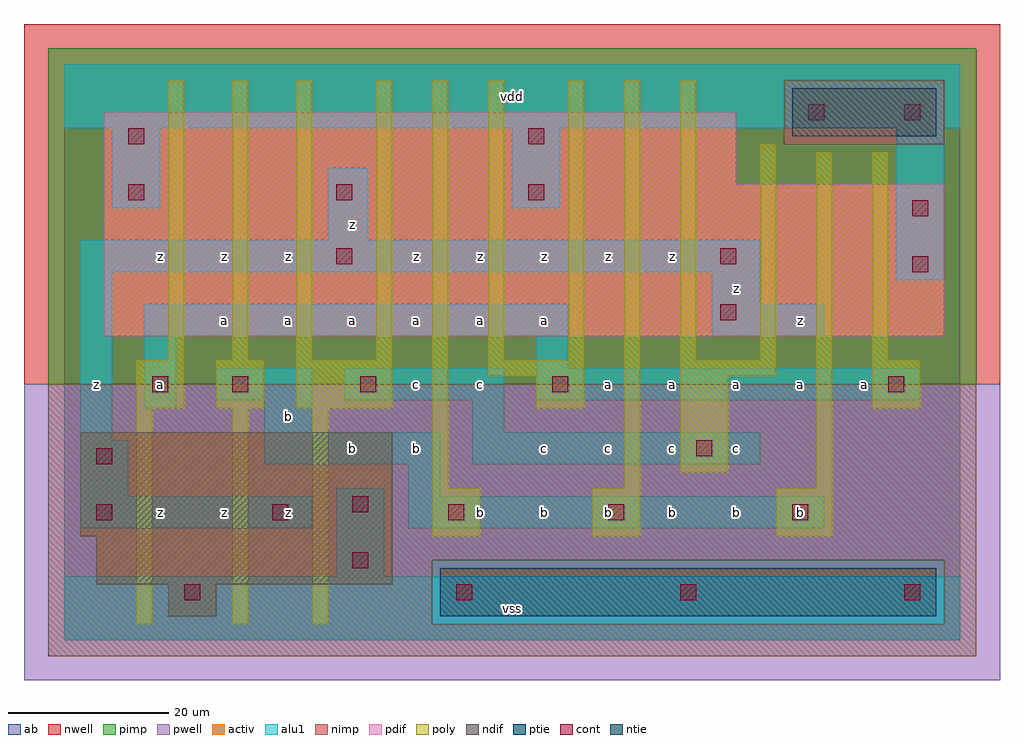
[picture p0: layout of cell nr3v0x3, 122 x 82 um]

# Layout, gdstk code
import gdstk
lib = gdstk.Library(unit=1e-6, precision=1e-09)
def R(c, l, rs):  # rectangles x0, y0, x1, y1
    for r in rs: c.add(gdstk.rectangle(r[:2], r[2:], *l))
def A(c, l, x, y, w, h, nx, ny, dx, dy):  # array of equal rectangles
    R(c, l, [(x+i*dx, y+j*dy, x+i*dx+w, y+j*dy+h) for i in range(nx) for j in range(ny)])
ndif = (3, 0)
pdif = (4, 0)
ntie = (5, 0)
ptie = (6, 0)
cont = (25, 0)
pwell = (41, 0)
nwell = (42, 0)
activ = (43, 0)
pimp = (44, 0)
nimp = (45, 0)
poly = (46, 0)
alu1 = (49, 0)
ab = (63, 0)

nr3v0x3 = lib.new_cell('nr3v0x3')
R(nr3v0x3, ndif, [(13,3,19,7), (4,7,41,13), (2,13,41,26)])
R(nr3v0x3, pdif, [(5,38,110,57), (5,57,84,66)])
R(nr3v0x3, ntie, [(91,63,109,69)])
R(nr3v0x3, ptie, [(47,3,109,9)])
A(nr3v0x3, cont, 49, 5, 2, 2, 3, 1, 28, 0)
A(nr3v0x3, cont, 4, 15, 2, 2, 3, 1, 22, 0)
R(nr3v0x3, cont, [(15,5,17,7), (36,9,38,11), (68,15,70,17), (91,15,93,17), (36,16,38,18), (4,22,6,24), (79,23,81,25), (11,31,13,33), (21,31,23,33), (37,31,39,33), (61,31,63,33), (103,31,105,33), (82,40,84,42), (106,46,108,48), (34,47,36,49), (82,47,84,49), (106,53,108,55), (8,55,10,57), (34,55,36,57), (58,55,60,57), (8,62,10,64), (58,62,60,64), (93,65,95,67), (105,65,107,67)])
R(nr3v0x3, pwell, [(-5,-5,117,32)])
R(nr3v0x3, nwell, [(-5,32,117,77)])
R(nr3v0x3, activ, [(13,3,19,7), (47,3,109,9), (4,7,41,13), (2,13,41,26), (5,38,110,57), (5,57,84,66), (91,63,109,69)])
R(nr3v0x3, pimp, [(46,2,110,10), (-2,32,114,62), (-2,62,90,70), (110,62,114,70), (-2,70,114,74)])
R(nr3v0x3, nimp, [(-2,-2,114,2), (-2,2,46,10), (110,2,114,10), (-2,10,114,32), (90,62,110,70)])
A(nr3v0x3, poly, 13, 35, 2, 35, 3, 1, 8, 0)
R(nr3v0x3, poly, [(9,2,11,29), (21,2,23,29), (31,2,33,29), (46,13,52,19), (66,13,72,19), (89,13,96,19), (46,19,48,70), (70,19,72,70), (94,19,96,61), (77,21,83,33), (9,29,15,35), (19,29,25,35), (29,29,41,35), (59,29,65,33), (101,29,107,35), (53,33,65,35), (77,33,89,35), (39,35,41,70), (53,35,55,70), (63,35,65,70), (77,35,79,70), (87,35,89,62), (101,35,103,61)])
R(nr3v0x3, alu1, [(0,0,112,8), (34,8,40,19), (2,14,31,18), (43,14,95,18), (2,18,8,25), (43,18,47,22), (25,22,47,26), (51,22,87,26), (2,25,6,46), (25,26,31,30), (51,26,55,30), (10,29,14,38), (19,30,31,34), (35,30,55,34), (59,30,107,34), (59,34,63,38), (10,38,63,42), (81,38,95,42), (81,42,87,46), (104,45,110,64), (2,46,87,50), (33,50,38,59), (6,54,12,64), (56,54,62,64), (0,64,112,72)])
R(nr3v0x3, ab, [(0,0,112,72)])
nr3v0x3.add(gdstk.Label('z', (12,16), layer=49, texttype=0))
nr3v0x3.add(gdstk.Label('z', (4,32), layer=49, texttype=0))
nr3v0x3.add(gdstk.Label('a', (12,32), layer=49, texttype=0))
nr3v0x3.add(gdstk.Label('z', (12,48), layer=49, texttype=0))
nr3v0x3.add(gdstk.Label('z', (28,16), layer=49, texttype=0))
nr3v0x3.add(gdstk.Label('z', (20,16), layer=49, texttype=0))
nr3v0x3.add(gdstk.Label('b', (36,24), layer=49, texttype=0))
nr3v0x3.add(gdstk.Label('b', (28,28), layer=49, texttype=0))
nr3v0x3.add(gdstk.Label('a', (20,40), layer=49, texttype=0))
nr3v0x3.add(gdstk.Label('a', (36,40), layer=49, texttype=0))
nr3v0x3.add(gdstk.Label('a', (28,40), layer=49, texttype=0))
nr3v0x3.add(gdstk.Label('z', (20,48), layer=49, texttype=0))
nr3v0x3.add(gdstk.Label('z', (36,52), layer=49, texttype=0))
nr3v0x3.add(gdstk.Label('z', (28,48), layer=49, texttype=0))
nr3v0x3.add(gdstk.Label('vss', (56,4), layer=49, texttype=0))
nr3v0x3.add(gdstk.Label('b', (60,16), layer=49, texttype=0))
nr3v0x3.add(gdstk.Label('b', (52,16), layer=49, texttype=0))
nr3v0x3.add(gdstk.Label('b', (44,24), layer=49, texttype=0))
nr3v0x3.add(gdstk.Label('c', (60,24), layer=49, texttype=0))
nr3v0x3.add(gdstk.Label('c', (52,32), layer=49, texttype=0))
nr3v0x3.add(gdstk.Label('c', (44,32), layer=49, texttype=0))
nr3v0x3.add(gdstk.Label('a', (44,40), layer=49, texttype=0))
nr3v0x3.add(gdstk.Label('a', (60,40), layer=49, texttype=0))
nr3v0x3.add(gdstk.Label('a', (52,40), layer=49, texttype=0))
nr3v0x3.add(gdstk.Label('z', (44,48), layer=49, texttype=0))
nr3v0x3.add(gdstk.Label('z', (60,48), layer=49, texttype=0))
nr3v0x3.add(gdstk.Label('z', (52,48), layer=49, texttype=0))
nr3v0x3.add(gdstk.Label('vdd', (56,68), layer=49, texttype=0))
nr3v0x3.add(gdstk.Label('b', (84,16), layer=49, texttype=0))
nr3v0x3.add(gdstk.Label('b', (76,16), layer=49, texttype=0))
nr3v0x3.add(gdstk.Label('b', (68,16), layer=49, texttype=0))
nr3v0x3.add(gdstk.Label('c', (68,24), layer=49, texttype=0))
nr3v0x3.add(gdstk.Label('c', (84,24), layer=49, texttype=0))
nr3v0x3.add(gdstk.Label('c', (76,24), layer=49, texttype=0))
nr3v0x3.add(gdstk.Label('a', (84,32), layer=49, texttype=0))
nr3v0x3.add(gdstk.Label('a', (76,32), layer=49, texttype=0))
nr3v0x3.add(gdstk.Label('a', (68,32), layer=49, texttype=0))
nr3v0x3.add(gdstk.Label('z', (84,44), layer=49, texttype=0))
nr3v0x3.add(gdstk.Label('z', (68,48), layer=49, texttype=0))
nr3v0x3.add(gdstk.Label('z', (76,48), layer=49, texttype=0))
nr3v0x3.add(gdstk.Label('b', (92,16), layer=49, texttype=0))
nr3v0x3.add(gdstk.Label('a', (100,32), layer=49, texttype=0))
nr3v0x3.add(gdstk.Label('a', (92,32), layer=49, texttype=0))
nr3v0x3.add(gdstk.Label('z', (92,40), layer=49, texttype=0))

lib.write_gds('nr3v0x3.gds')
